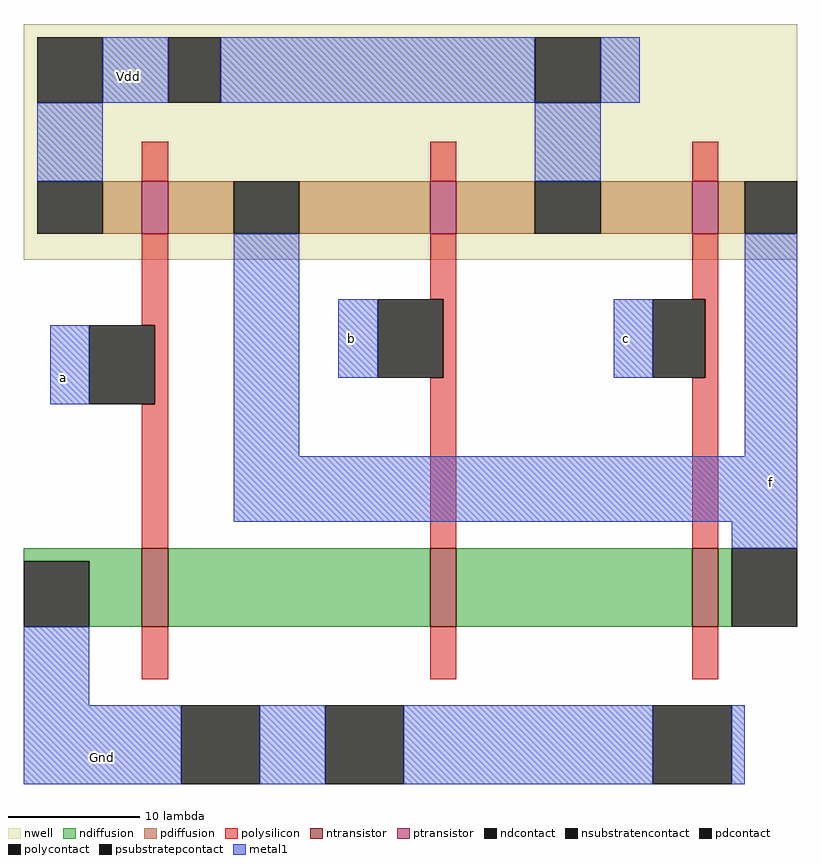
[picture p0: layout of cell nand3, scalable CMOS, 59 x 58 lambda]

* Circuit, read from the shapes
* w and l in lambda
.subckt nand3 Gnd Vdd a b c f
M1 n1 a Gnd Gnd nfet w=6 l=2
M2 n2 b n1 Gnd nfet w=6 l=2
M3 f c n2 Gnd nfet w=6 l=2
M4 f a Vdd Vdd pfet w=4 l=2
M5 Vdd b f Vdd pfet w=4 l=2
M6 f c Vdd Vdd pfet w=4 l=2
.ends

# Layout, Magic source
magic
tech scmos
<< nwell >>
rect -15 2 44 20
<< polysilicon >>
rect -6 8 -4 11
rect 16 8 18 11
rect 36 8 38 11
rect -6 -3 -4 4
rect 16 -1 18 4
rect 36 -1 38 4
rect -5 -9 -4 -3
rect 17 -7 18 -1
rect 37 -7 38 -1
rect -6 -20 -4 -9
rect 16 -20 18 -7
rect 36 -20 38 -7
rect -6 -30 -4 -26
rect 16 -30 18 -26
rect 36 -30 38 -26
<< ndiffusion >>
rect -15 -21 -6 -20
rect -10 -26 -6 -21
rect -4 -26 16 -20
rect 18 -26 36 -20
rect 38 -26 39 -20
<< pdiffusion >>
rect -9 4 -6 8
rect -4 4 1 8
rect 6 4 16 8
rect 18 4 24 8
rect 29 4 36 8
rect 38 4 40 8
<< metal1 >>
rect -9 14 -4 19
rect 0 14 24 19
rect 29 14 32 19
rect -14 8 -9 14
rect 24 8 29 14
rect -13 -9 -10 -3
rect 1 -13 6 4
rect 9 -7 12 -1
rect 30 -7 33 -1
rect 40 -13 44 4
rect 1 -18 44 -13
rect 39 -20 44 -18
rect -15 -32 -10 -26
rect -15 -38 -3 -32
rect 3 -38 8 -32
rect 14 -38 33 -32
rect 39 -38 40 -32
<< ntransistor >>
rect -6 -26 -4 -20
rect 16 -26 18 -20
rect 36 -26 38 -20
<< ptransistor >>
rect -6 4 -4 8
rect 16 4 18 8
rect 36 4 38 8
<< polycontact >>
rect -10 -9 -5 -3
rect 12 -7 17 -1
rect 33 -7 37 -1
<< ndcontact >>
rect -15 -26 -10 -21
rect 39 -26 44 -20
<< pdcontact >>
rect -14 4 -9 8
rect 1 4 6 8
rect 24 4 29 8
rect 40 4 44 8
<< psubstratepcontact >>
rect -3 -38 3 -32
rect 8 -38 14 -32
rect 33 -38 39 -32
<< nsubstratencontact >>
rect -14 14 -9 19
rect -4 14 0 19
rect 24 14 29 19
<< labels >>
rlabel metal1 -12 -7 -12 -7 3 a
rlabel metal1 10 -4 10 -4 1 b
rlabel metal1 -9 -36 -9 -36 1 Gnd
rlabel metal1 31 -4 31 -4 1 c
rlabel metal1 42 -15 42 -15 7 f
rlabel metal1 -7 16 -7 16 5 Vdd
<< end >>
